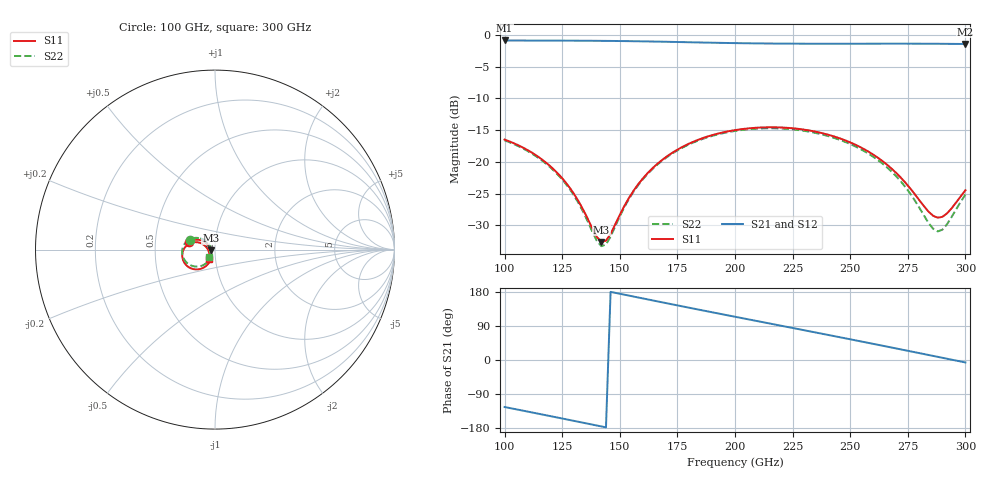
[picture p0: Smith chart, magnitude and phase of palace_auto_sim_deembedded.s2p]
! Created with skrf 1.11.0 (http://scikit-rf.org).
# GHz S DB R 50.0
!freq dBS11 angS11 dBS21 angS21 dBS12 angS12 dBS22 angS22
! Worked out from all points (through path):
!   101 points, 100 GHz to 300 GHz, reference 50 ohm
!   highest |S21| = -0.87 dB at 100 GHz (marker M1); lowest = -1.4 dB at 300 GHz (marker M2)
!   group delay of S21, straight-line fit = 3.36 ps
!   lowest |S11| = -32.6 dB at 142 GHz (marker M3), VSWR 1.05, Z = 47.7 - j0.347 ohm
!   |S11| at or under -10 dB: start of sweep to end of sweep
!   |S22| runs from -33.3 to -14.7 dB; largest |S21 - S12| = 9.8e-14
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100  -16.48 163.6  -0.87 -124.1  -0.87 -124.1  -16.61 158.6
110  -18.14 153.9  -0.89 -136.1  -0.89 -136.1  -18.29 148.3
120  -20.74 146.0  -0.90 -148.3  -0.90 -148.3  -20.91 139.7
128  -23.94 143.3  -0.91 -158.1  -0.91 -158.1  -24.16 136.4
134  -27.46 148.1  -0.92 -165.4  -0.92 -165.4  -27.79 140.6
140  -31.80 172.6  -0.93 -172.8  -0.93 -172.8  -32.41 165.6
142  -32.61 -171.1  -0.94 -175.3  -0.94 -175.3  -33.27 -177.1
144  -32.41 -153.3  -0.94 -177.8  -0.94 -177.8  -33.00 -158.3
146  -31.33 -138.5  -0.95 179.8  -0.95 179.8  -31.77 -142.9
156  -24.52 -114.2  -0.99 167.4  -0.99 167.4  -24.67 -120.1
168  -19.79 -118.3  -1.07 152.7  -1.07 152.7  -19.92 -125.3
182  -16.81 -130.3  -1.17 135.7  -1.17 135.7  -16.93 -138.4
200  -14.99 -147.8  -1.29 114.1  -1.29 114.1  -15.13 -157.0
218  -14.56 -165.2  -1.36 92.8  -1.36 92.8  -14.72 -175.6
234  -15.17 179.7  -1.39 73.8  -1.39 73.8  -15.37 168.0
252  -17.25 164.1  -1.39 52.2  -1.39 52.2  -17.52 150.8
268  -21.07 155.7  -1.38 32.8  -1.38 32.8  -21.54 140.1
276  -24.15 158.5  -1.38 23.1  -1.38 23.1  -24.97 141.2
284  -27.83 177.3  -1.39 13.2  -1.39 13.2  -29.60 160.6
288  -28.79 -163.3  -1.40 8.3  -1.40 8.3  -30.95 -174.8
292  -28.12 -142.9  -1.41 3.4  -1.41 3.4  -29.84 -149.2
300  -24.46 -121.4  -1.43 -6.5  -1.43 -6.5  -25.15 -127.8
